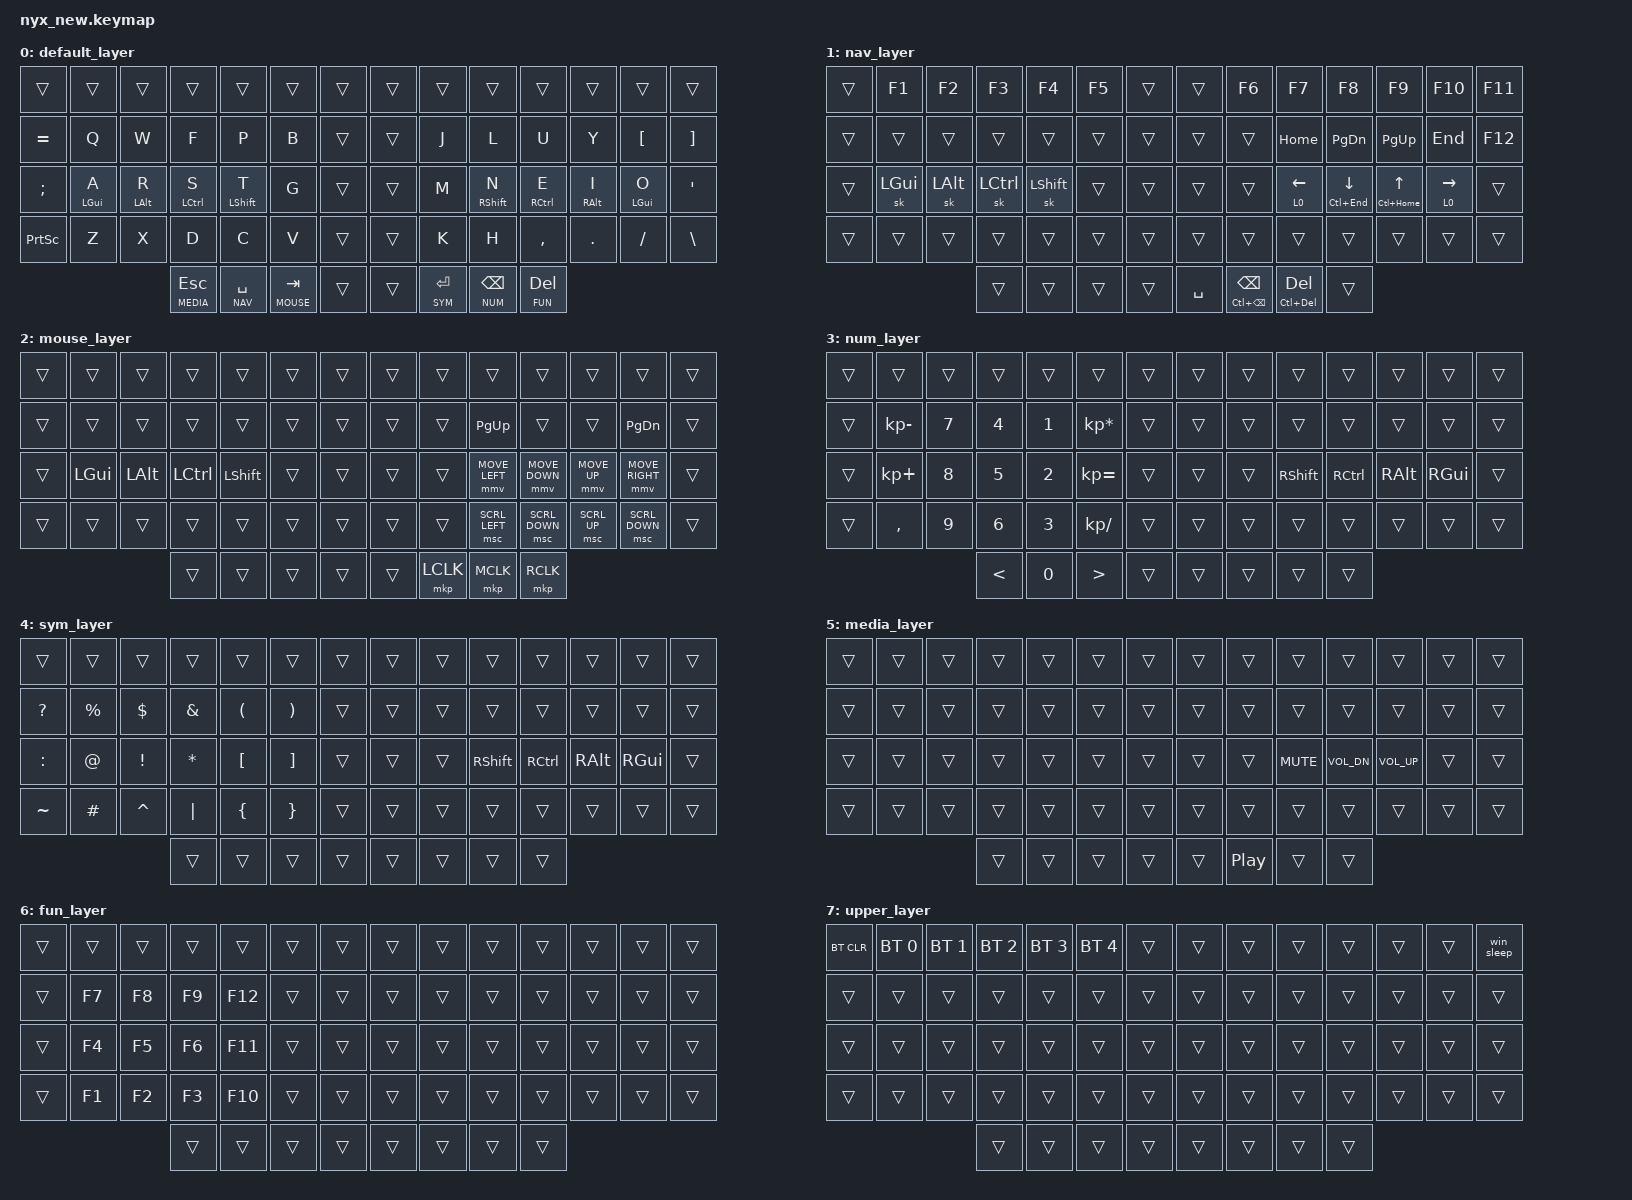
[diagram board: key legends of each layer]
#include <behaviors.dtsi>
#include <dt-bindings/zmk/bt.h>
#include <dt-bindings/zmk/keys.h>
#include "helper.h"
#include "keypos_64keys.h"

#define DEFAULT 0
#define NAV     1
#define MOUSE   2
#define NUM     3
#define SYM     4
#define MEDIA   5
#define FUN     6
#define LOWER   7  
#define UPPER   8


#define QUICK_TAP_MS 175

&sk {  // sticky-key config
    release-after-ms = <900>;  // release after 0.6s
    quick-release;             // no double capitalization when rolling keys
};

&sl { // Allow sticky mods to chord across sticky layers.
  ignore-modifiers;
};

&lt {
  flavor = "balanced";
  tapping-term-ms = <200>;
  quick-tap-ms = <QUICK_TAP_MS>;
};

/* Homerow mods */

#define KEYS_L LN0 LN1 LN2 LN3 LN4 LN5 LN6 LT0 LT1 LT2 LT3 LT4 LT5 LT6 LM0 LM1 LM2 LM3 LM4 LM5 LM6 LB0 LB1 LB2 LB3 LB4 LB5 LB6  // left hand
#define KEYS_R RN0 RN1 RN2 RN3 RN4 RN5 RN6 RT0 RT1 RT2 RT3 RT4 RT5 RT6 RM0 RM1 RM2 RM3 RM4 RM5 RM6 RB0 RB1 RB2 RB3 RB4 RB5 RB6  // right hand
#define THUMBS LH3 LH2 LH1 LH0 RH0 RH1 RH2 RH3                                     // thumbs

#define MAKE_HRM(NAME, HOLD, TAP, TRIGGER_POS) \
    ZMK_BEHAVIOR(NAME, hold_tap, \
        flavor = "balanced"; \
        tapping-term-ms = <280>; \
        quick-tap-ms = <QUICK_TAP_MS>; \
        require-prior-idle-ms = <150>; \
        bindings = <HOLD>, <TAP>; \
        hold-trigger-key-positions = <TRIGGER_POS>; \
        hold-trigger-on-release; \
    )
MAKE_HRM(hml, &kp, &kp, KEYS_R THUMBS)  // left-hand HRMs
MAKE_HRM(hmr, &kp, &kp, KEYS_L THUMBS)  // right-hand HRMs

MAKE_HRM(hml_repeat, &kp, &key_repeat, KEYS_R THUMBS)  // used for HRM-combo

/* Mouse emulation */
#define ZMK_POINTING_DEFAULT_MOVE_VAL 1500  // default: 600
#define ZMK_POINTING_DEFAULT_SCRL_VAL 20    // default: 10

#include <dt-bindings/zmk/pointing.h>

#define U_MS_U &mmv MOVE_UP
#define U_MS_D &mmv MOVE_DOWN
#define U_MS_L &mmv MOVE_LEFT
#define U_MS_R &mmv MOVE_RIGHT
#define U_WH_U &msc SCRL_UP
#define U_WH_D &msc SCRL_DOWN
#define U_WH_L &msc SCRL_LEFT
#define U_WH_R &msc SCRL_RIGHT

/* Nav cluster */

// long-tap action on hold, short-tap action on all interrupts
#define MT_CORE \
    flavor = "tap-preferred"; \
    tapping-term-ms = <220>; \
    quick-tap-ms = <220>; \
    hold-trigger-key-positions = <0>;

&mt { MT_CORE };
ZMK_BEHAVIOR(mt_home, hold_tap, bindings = <&masked_home>, <&kp>; MT_CORE)
ZMK_BEHAVIOR(mt_end,  hold_tap,  bindings = <&masked_end>, <&kp>; MT_CORE)

#define NAV_LEFT  &mt_home 0   LEFT    // tap: left  | long-tap: beginning of line
#define NAV_RIGHT &mt_end 0    RIGHT   // tap: right | long-tap: end       of line
#define NAV_UP    &mt LC(HOME) UP      // tap: up    | long-tap: beginning of document
#define NAV_DOWN  &mt LC(END)  DOWN    // tap: down  | long-tap: end       of document
#define NAV_BSPC  &mt LC(BSPC) BSPC    // tap: bspc  | long-tap: delete word backward
#define NAV_DEL   &mt LC(DEL)  DEL     // tap: del   | long-tap: delete word forward

// mask CTRL when holding left/right to avoid accidental jumps to beginning/end of document
#define MASK_MODS(NAME, MODS, BINDING) \
    ZMK_BEHAVIOR(NAME, mod_morph, \
        bindings = <BINDING>, <BINDING>; \
        mods = <MODS>; \
    )
MASK_MODS(masked_home, (MOD_LCTL), &kp HOME)
MASK_MODS(masked_end,  (MOD_LCTL), &kp END)

// Windows sleep key
ZMK_BEHAVIOR(win_sleep, macro,
    wait-ms = <500>;
    tap-ms = <50>;
    bindings = <&kp LG(X) &kp U &kp S>;
)

/ {
    behaviors {
        // This is mod-tap with the "balanced" flavor.
        // Improves the '&mt RCTRL SPACE' behavior when typing quickly.

        bmt: balanced_mod_tap {
            compatible = "zmk,behavior-hold-tap";
            label = "MOD_TAP";
            #binding-cells = <2>;
            flavor = "balanced";
            tapping-term-ms = <220>;
            quick-tap-ms = <125>;
            bindings = <&kp>, <&kp>;
        };
    };

    keymap {
        compatible = "zmk,keymap";

        default_layer {
            bindings = <
&trans           &trans        &trans       &trans            &trans          &trans         &trans              &trans      &trans       &trans             &trans        &trans      &trans       &trans
&kp EQUAL        &kp Q         &kp W        &kp F             &kp P           &kp B          &trans              &trans      &kp J        &kp L              &kp U         &kp Y       &kp LBKT     &kp RBKT
&kp SEMI         &hml LGUI A   &hml LALT R  &hml LCTRL S      &hml LSHFT T    &kp G          &trans              &trans      &kp M        &hmr RSHFT N       &hmr RCTRL E  &hmr RALT I &hmr LGUI O  &kp APOS
&kp PRINTSCREEN  &kp Z         &kp X        &kp D             &kp C           &kp V          &trans              &trans      &kp K        &kp H              &kp COMMA     &kp DOT     &kp FSLH     &kp BACKSLASH
                                            &lt MEDIA ESC     &lt NAV SPACE   &lt MOUSE TAB  &trans              &trans      &lt SYM RET  &lt NUM BACKSPACE  &lt FUN DELETE
            >;
        };

        nav_layer {
            bindings = <
&trans  &kp F1    &kp F2    &kp F3     &kp F4     &kp F5  &trans    &trans     &kp F6         &kp F7      &kp F8     &kp F9     &kp F10    &kp F11
&trans  &trans    &trans    &trans     &trans     &trans  &trans    &trans     &trans         &kp HOME    &kp PG_DN  &kp PG_UP  &kp END    &kp F12
&trans  &sk LGUI  &sk LALT  &sk LCTRL  &sk LSHFT  &trans  &trans    &trans     &trans         NAV_LEFT    NAV_DOWN   NAV_UP     NAV_RIGHT  &trans
&trans  &trans    &trans    &trans     &trans     &trans  &trans    &trans     &trans         &trans      &trans     &trans     &trans     &trans
                            &trans     &trans     &trans  &trans    &kp SPACE  NAV_BSPC       NAV_DEL     &trans
            >;
        };

        mouse_layer {
            bindings = <
&trans  &trans    &trans    &trans     &trans     &trans  &trans    &trans  &trans     &trans     &trans   &trans  &trans     &trans
&trans  &trans    &trans    &trans     &trans     &trans  &trans    &trans  &trans     &kp PG_UP  &trans   &trans  &kp PG_DN  &trans
&trans  &kp LGUI  &kp LALT  &kp LCTRL  &kp LSHFT  &trans  &trans    &trans  &trans     U_MS_L     U_MS_D   U_MS_U  U_MS_R     &trans
&trans  &trans    &trans    &trans     &trans     &trans  &trans    &trans  &trans     U_WH_L     U_WH_D   U_WH_U  U_WH_D     &trans
                            &trans     &trans     &trans  &trans    &trans  &mkp LCLK  &mkp MCLK  &mkp RCLK
            >;
        };

        num_layer {
            bindings = <
&trans  &trans        &trans  &trans         &trans  &trans            &trans    &trans  &trans  &trans     &trans     &trans    &trans    &trans
&trans  &kp KP_MINUS  &kp N7  &kp N4         &kp N1  &kp KP_ASTERISK   &trans    &trans  &trans  &trans     &trans     &trans    &trans    &trans
&trans  &kp KP_PLUS   &kp N8  &kp N5         &kp N2  &kp KP_EQUAL      &trans    &trans  &trans  &kp RSHFT  &kp RCTRL  &kp RALT  &kp RGUI  &trans
&trans  &kp COMMA     &kp N9  &kp N6         &kp N3  &kp KP_SLASH      &trans    &trans  &trans  &trans     &trans     &trans    &trans    &trans
                              &kp LESS_THAN  &kp N0  &kp GREATER_THAN  &trans    &trans  &trans  &trans     &trans
            >;
        };

        sym_layer {
            bindings = <
&trans        &trans       &trans       &trans         &trans                &trans                 &trans    &trans  &trans  &trans     &trans     &trans    &trans    &trans
&kp QUESTION  &kp PERCENT  &kp DOLLAR   &kp AMPERSAND  &kp LEFT_PARENTHESIS  &kp RIGHT_PARENTHESIS  &trans    &trans  &trans  &trans     &trans     &trans    &trans    &trans
&kp COLON     &kp AT    &kp EXCL        &kp ASTERISK   &kp LEFT_BRACKET      &kp RIGHT_BRACKET      &trans    &trans  &trans  &kp RSHFT  &kp RCTRL  &kp RALT  &kp RGUI  &trans
&kp TILDE     &kp HASH  &kp CARET       &kp PIPE       &kp LEFT_BRACE        &kp RIGHT_BRACE        &trans    &trans  &trans  &trans     &trans     &trans    &trans    &trans
                                        &trans         &trans                &trans                 &trans    &trans  &trans  &trans     &trans
            >;
        };
        
        media_layer {
            bindings = <
&trans     &trans      &trans   &trans   &trans    &trans       &trans    &trans  &trans  &trans      &trans        &trans        &trans    &trans
&trans     &trans      &trans   &trans   &trans    &trans       &trans    &trans  &trans  &trans      &trans        &trans        &trans    &trans
&trans     &trans      &trans   &trans   &trans    &trans       &trans    &trans  &trans  &kp C_MUTE  &kp C_VOL_DN  &kp C_VOL_UP  &trans    &trans
&trans     &trans      &trans   &trans   &trans    &trans       &trans    &trans  &trans  &trans      &trans        &trans        &trans    &trans
                                         &trans    &trans       &trans    &trans  &trans  &kp C_PP      &trans        &trans
            >;
        };

        fun_layer {
            bindings = <
&trans   &trans    &trans   &trans   &trans    &trans   &trans   &trans      &trans  &trans   &trans   &trans    &trans    &trans
&trans   &kp F7    &kp F8   &kp F9   &kp F12    &trans   &trans   &trans      &trans  &trans   &trans   &trans    &trans    &trans
&trans   &kp F4    &kp F5   &kp F6   &kp F11    &trans   &trans   &trans      &trans  &trans   &trans   &trans    &trans    &trans
&trans   &kp F1    &kp F2   &kp F3   &kp F10    &trans   &trans   &trans      &trans  &trans   &trans   &trans    &trans    &trans
                                     &trans    &trans   &trans   &trans      &trans  &trans   &trans   &trans
            >;
        };

        upper_layer {
            // | BT_CLR   | BT_SEL 0   | BT_SEL 1   | BT_SEL 2   | BT_SEL 3   | BT_SEL 4   |      |      |      |      |      |      |      |      |
            // |          |            |            |            |            |            |      |      |      |      |      |      |      |      |
            // |          |            |            |            |            |            |      |      |      |      |      |      |      |      |
            // |          |            |            |            |            |            |      |      |      |      |      |      |      |      |
            // |          |            |            |            |            |            |      |      |      |      |      |      |      |      |

            bindings = <
&bt BT_CLR  &bt BT_SEL 0  &bt BT_SEL 1  &bt BT_SEL 2  &bt BT_SEL 3  &bt BT_SEL 4  &trans    &trans  &trans  &trans  &trans  &trans  &trans  &win_sleep
&trans      &trans        &trans        &trans        &trans        &trans        &trans    &trans  &trans  &trans  &trans  &trans  &trans  &trans
&trans      &trans        &trans        &trans        &trans        &trans        &trans    &trans  &trans  &trans  &trans  &trans  &trans  &trans
&trans      &trans        &trans        &trans        &trans        &trans        &trans    &trans  &trans  &trans  &trans  &trans  &trans  &trans
                                        &trans        &trans        &trans        &trans    &trans  &trans  &trans  &trans
            >;
        };
    };

    combos {
        compatible = "zmk,combos";

        combo_upperl {
            timeout-ms = <50>;
            key-positions = <56 57>;
            bindings = <&mo 5>;
        };

        combo_upperr {
            timeout-ms = <50>;
            key-positions = <62 63>;
            bindings = <&mo 5>;
        };
    };
};
